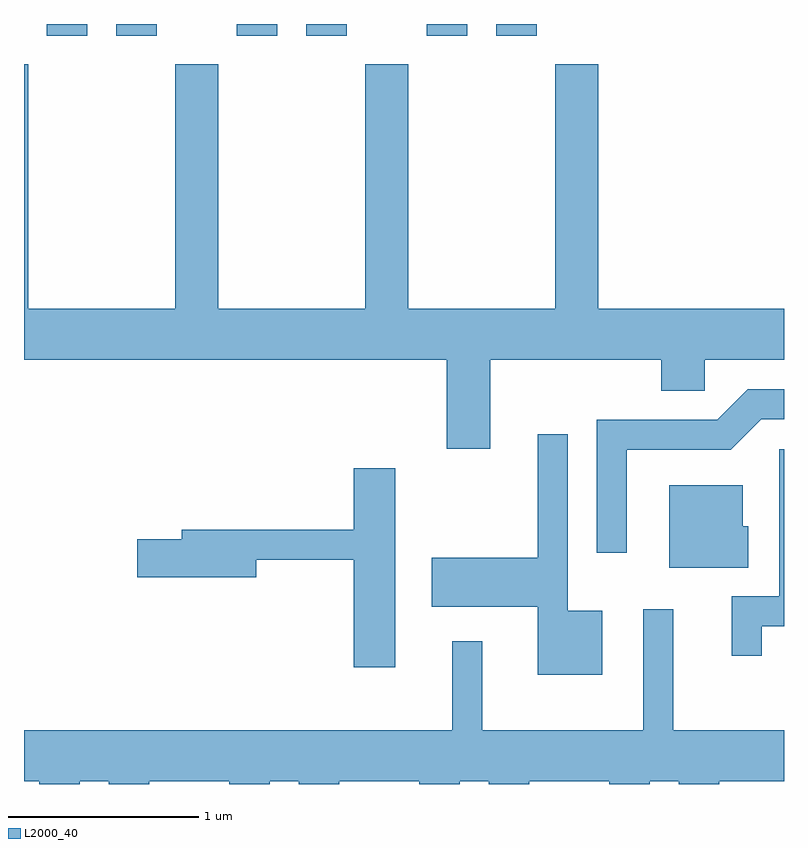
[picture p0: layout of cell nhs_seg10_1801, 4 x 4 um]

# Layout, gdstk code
import gdstk
lib = gdstk.Library(unit=1e-6, precision=1e-09)
def R(c, l, rs):  # rectangles x0, y0, x1, y1
    for r in rs: c.add(gdstk.rectangle(r[:2], r[2:], *l))
def P(c, l, *ps):  # polygons
    for p in ps: c.add(gdstk.Polygon(p, *l))
L2000_40 = (2000, 40)

nhs_seg10_1801 = lib.new_cell('nhs_seg10_1801')
R(nhs_seg10_1801, L2000_40, [(237.731,2164.461,237.944,2164.522), (238.096,2164.461,238.309,2164.522), (238.731,2164.461,238.944,2164.522), (239.096,2164.461,239.309,2164.522), (239.731,2164.461,239.944,2164.522), (240.096,2164.461,240.309,2164.522)])
P(nhs_seg10_1801, L2000_40, [(240.634,2164.309),(240.406,2164.309),(240.406,2163.024),(239.634,2163.024),(239.634,2164.309),(239.406,2164.309),(239.406,2163.024),(238.634,2163.024),(238.634,2164.309),(238.406,2164.309),(238.406,2163.024),(237.634,2163.024),(237.634,2164.309),(237.611,2164.309),(237.611,2162.756),(239.836,2162.756),(239.836,2162.286),(240.064,2162.286),(240.064,2162.756),(240.966,2162.756),(240.966,2162.591),(241.194,2162.591),(241.194,2162.756),(241.611,2162.756),(241.611,2163.024),(240.634,2163.024)],
  [(240.784,2162.281),(241.332,2162.281),(241.492,2162.441),(241.611,2162.441),(241.611,2162.599),(241.419,2162.599),(241.259,2162.439),(240.626,2162.439),(240.626,2161.738),(240.784,2161.738)],
  [(240.654,2161.434),(240.474,2161.434),(240.474,2162.363),(240.316,2162.363),(240.316,2161.714),(239.756,2161.714),(239.756,2161.456),(240.316,2161.456),(240.316,2161.096),(240.654,2161.096)],
  [(241.494,2161.351),(241.611,2161.351),(241.611,2162.284),(241.586,2162.284),(241.586,2161.509),(241.336,2161.509),(241.336,2161.198),(241.494,2161.198)],
  [(239.564,2162.184),(239.346,2162.184),(239.346,2161.859),(238.441,2161.859),(238.441,2161.809),(238.206,2161.809),(238.206,2161.611),(238.834,2161.611),(238.834,2161.701),(239.346,2161.701),(239.346,2161.136),(239.564,2161.136)],
  [(241.424,2161.879),(241.394,2161.879),(241.394,2162.094),(241.006,2162.094),(241.006,2161.661),(241.424,2161.661)],
  [(237.904,2160.536),(238.056,2160.536),(238.056,2160.522),(238.269,2160.522),(238.269,2160.536),(238.691,2160.536),(238.691,2160.522),(238.904,2160.522),(238.904,2160.536),(239.056,2160.536),(239.056,2160.522),(239.269,2160.522),(239.269,2160.536),(239.691,2160.536),(239.691,2160.522),(239.904,2160.522),(239.904,2160.536),(240.056,2160.536),(240.056,2160.522),(240.269,2160.522),(240.269,2160.536),(240.691,2160.536),(240.691,2160.522),(240.904,2160.522),(240.904,2160.536),(241.056,2160.536),(241.056,2160.522),(241.269,2160.522),(241.269,2160.536),(241.611,2160.536),(241.611,2160.804),(241.029,2160.804),(241.029,2161.443),(240.871,2161.443),(240.871,2160.804),(240.024,2160.804),(240.024,2161.273),(239.866,2161.273),(239.866,2160.804),(237.611,2160.804),(237.611,2160.536),(237.691,2160.536),(237.691,2160.522),(237.904,2160.522)])

lib.write_gds('nhs_seg10_1801.gds')
